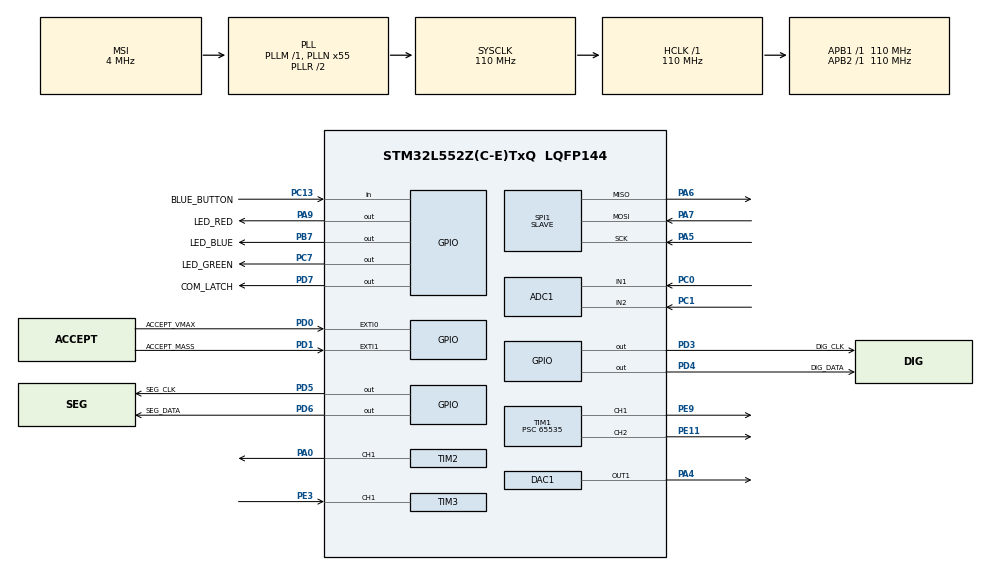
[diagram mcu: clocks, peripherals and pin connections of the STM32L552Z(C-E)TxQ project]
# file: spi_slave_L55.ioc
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ADC1.Channel-0\#ChannelRegularConversion=ADC_CHANNEL_1
ADC1.Channel-1\#ChannelRegularConversion=ADC_CHANNEL_2
ADC1.NbrOfConversion=2
ADC1.NbrOfConversionFlag=1
ADC1.OffsetNumber-0\#ChannelRegularConversion=ADC_OFFSET_NONE
ADC1.OffsetNumber-1\#ChannelRegularConversion=ADC_OFFSET_NONE
ADC1.Rank-0\#ChannelRegularConversion=1
ADC1.Rank-1\#ChannelRegularConversion=2
ADC1.SamplingTime-0\#ChannelRegularConversion=ADC_SAMPLETIME_2CYCLES_5
ADC1.SamplingTime-1\#ChannelRegularConversion=ADC_SAMPLETIME_2CYCLES_5
ADC1.master=1
DAC1.DAC_SampleAndHold-DAC_OUT1=DAC_SAMPLEANDHOLD_DISABLE
Dma.Request0=SPI1_RX
Dma.Request1=SPI1_TX
Dma.SPI1_RX.0.Channel_PRIV_NPRIV=DMA_CHANNEL_NPRIV_DISABLE
Dma.SPI1_RX.0.Direction=DMA_PERIPH_TO_MEMORY
Dma.SPI1_RX.0.EventEnable=DISABLE
Dma.SPI1_RX.0.Instance=DMA1_Channel1
Dma.SPI1_RX.0.MemDataAlignment=DMA_MDATAALIGN_BYTE
Dma.SPI1_RX.0.MemInc=DMA_MINC_ENABLE
Dma.SPI1_RX.0.Mode=DMA_NORMAL
Dma.SPI1_RX.0.PeriphDataAlignment=DMA_PDATAALIGN_BYTE
Dma.SPI1_RX.0.PeriphInc=DMA_PINC_DISABLE
Dma.SPI1_RX.0.Polarity=HAL_DMAMUX_REQ_GEN_RISING
Dma.SPI1_RX.0.Priority=DMA_PRIORITY_LOW
Dma.SPI1_RX.0.RequestNumber=1
Dma.SPI1_RX.0.SignalID=NONE
Dma.SPI1_RX.0.SyncEnable=DISABLE
Dma.SPI1_RX.0.SyncPolarity=HAL_DMAMUX_SYNC_NO_EVENT
Dma.SPI1_RX.0.SyncRequestNumber=1
Dma.SPI1_RX.0.SyncSignalID=NONE
Dma.SPI1_TX.1.Channel_PRIV_NPRIV=DMA_CHANNEL_NPRIV_DISABLE
Dma.SPI1_TX.1.Direction=DMA_MEMORY_TO_PERIPH
Dma.SPI1_TX.1.EventEnable=DISABLE
Dma.SPI1_TX.1.Instance=DMA1_Channel2
Dma.SPI1_TX.1.MemDataAlignment=DMA_MDATAALIGN_BYTE
Dma.SPI1_TX.1.MemInc=DMA_MINC_ENABLE
Dma.SPI1_TX.1.Mode=DMA_NORMAL
Dma.SPI1_TX.1.PeriphDataAlignment=DMA_PDATAALIGN_BYTE
Dma.SPI1_TX.1.PeriphInc=DMA_PINC_DISABLE
Dma.SPI1_TX.1.Polarity=HAL_DMAMUX_REQ_GEN_RISING
Dma.SPI1_TX.1.Priority=DMA_PRIORITY_LOW
Dma.SPI1_TX.1.RequestNumber=1
Dma.SPI1_TX.1.SignalID=NONE
Dma.SPI1_TX.1.SyncEnable=DISABLE
Dma.SPI1_TX.1.SyncPolarity=HAL_DMAMUX_SYNC_NO_EVENT
Dma.SPI1_TX.1.SyncRequestNumber=1
Dma.SPI1_TX.1.SyncSignalID=NONE
Mcu.Family=STM32L5
Mcu.Name=STM32L552Z(C-E)TxQ
Mcu.Package=LQFP144
Mcu.TrustZone=disable
NVIC.ADC1_2_IRQn=true\:0\:0\:false\:false\:true\:true\:true\:true
NVIC.DMA1_Channel1_IRQn=true\:0\:0\:false\:false\:true\:false\:true\:true
NVIC.DMA1_Channel2_IRQn=true\:0\:0\:false\:false\:true\:false\:true\:true
NVIC.EXTI0_IRQn=true\:0\:0\:false\:false\:true\:true\:true\:true
NVIC.EXTI1_IRQn=true\:0\:0\:false\:false\:true\:true\:true\:true
NVIC.PriorityGroup=NVIC_PRIORITYGROUP_3
NVIC.SPI1_IRQn=true\:0\:0\:false\:false\:true\:true\:true\:true
NVIC.TIM3_IRQn=true\:0\:0\:false\:false\:true\:true\:true\:true
PA0.Signal=S_TIM2_CH1
PA4.Signal=COMP_DAC11_group
PA5.Mode=Full_Duplex_Slave
PA5.Signal=SPI1_SCK
PA6.Mode=Full_Duplex_Slave
PA6.Signal=SPI1_MISO
PA7.Mode=Full_Duplex_Slave
PA7.Signal=SPI1_MOSI
PA9.GPIO_Label=LED_RED
PA9.Signal=GPIO_Output
PB7.GPIO_Label=LED_BLUE
PB7.Signal=GPIO_Output
PC0.Signal=ADCx_IN1
PC1.Signal=ADCx_IN2
PC13.GPIO_Label=BLUE_BUTTON
PC13.Signal=GPIO_Input
PC7.GPIO_Label=LED_GREEN
PC7.Signal=GPIO_Output
PD0.GPIO_Label=ACCEPT_VMAX
PD0.GPIO_ModeDefaultEXTI=GPIO_MODE_IT_FALLING
PD0.GPIO_PuPd=GPIO_PULLDOWN
PD0.Signal=GPXTI0
PD1.GPIO_Label=ACCEPT_MASS
PD1.GPIO_ModeDefaultEXTI=GPIO_MODE_IT_FALLING
PD1.GPIO_PuPd=GPIO_PULLDOWN
PD1.Signal=GPXTI1
PD3.GPIO_Label=DIG_CLK
PD3.Signal=GPIO_Output
PD4.GPIO_Label=DIG_DATA
PD4.Signal=GPIO_Output
PD5.GPIO_Label=SEG_CLK
PD5.Signal=GPIO_Output
PD6.GPIO_Label=SEG_DATA
PD6.Signal=GPIO_Output
PD7.GPIO_Label=COM_LATCH
PD7.Signal=GPIO_Output
PE11.Signal=S_TIM1_CH2
PE3.Signal=S_TIM3_CH1
PE9.Signal=S_TIM1_CH1
PH0-OSC_IN\ (PH0).Mode=HSE-External-Clock-Source
PH0-OSC_IN\ (PH0).Signal=RCC_OSC_IN
ProjectManager.HeapSize=0x200
ProjectManager.StackSize=0x400
ProjectManager.TargetToolchain=STM32CubeIDE
RCC.ADCCLockSelection=RCC_ADCCLKSOURCE_SYSCLK
RCC.ADCFreq_Value=110000000
RCC.AHBFreq_Value=110000000
RCC.APB1Freq_Value=110000000
RCC.APB1TimFreq_Value=110000000
RCC.APB2Freq_Value=110000000
RCC.APB2TimFreq_Value=110000000
RCC.CK48CLockSelection=RCC_USBCLKSOURCE_HSI48
RCC.CortexFreq_Value=110000000
RCC.HCLKFreq_Value=110000000
RCC.HSE_VALUE=8000000
RCC.HSI48_VALUE=48000000
RCC.HSI_VALUE=16000000
RCC.LSE_VALUE=32768
RCC.MSI_VALUE=4000000
RCC.PLLN=55
RCC.PLLSAI1N=24
RCC.RTCClockSelection=RCC_RTCCLKSOURCE_LSE
RCC.SYSCLKFreq_VALUE=110000000
RCC.SYSCLKSource=RCC_SYSCLKSOURCE_PLLCLK
RCC.USBFreq_Value=48000000
RCC.VCOOutputFreq_Value=220000000
SH.ADCx_IN1.0=ADC1_IN1,IN1-Single-Ended
SH.ADCx_IN2.0=ADC1_IN2,IN2-Single-Ended
SH.COMP_DAC11_group.0=DAC1_OUT1,DAC_OUT1
SH.S_TIM1_CH1.0=TIM1_CH1,Output Compare1 CH1
SH.S_TIM1_CH2.0=TIM1_CH2,Output Compare2 CH2
SH.S_TIM2_CH1.0=TIM2_CH1,PWM Generation1 CH1
SH.S_TIM3_CH1.0=TIM3_CH1,PWM_Input_1
SPI1.DataSize=SPI_DATASIZE_8BIT
SPI1.Direction=SPI_DIRECTION_2LINES
SPI1.Mode=SPI_MODE_SLAVE
SPI1.VirtualType=VM_SLAVE
TIM1.AutoReloadPreload=TIM_AUTORELOAD_PRELOAD_ENABLE
TIM1.Channel-Output\ Compare1\ CH1=TIM_CHANNEL_1
TIM1.Channel-Output\ Compare2\ CH2=TIM_CHANNEL_2
TIM1.CounterMode=TIM_COUNTERMODE_UP
TIM1.OCMode_1=TIM_OCMODE_TOGGLE
TIM1.OCMode_2=TIM_OCMODE_TOGGLE
TIM1.Period=109
TIM1.Prescaler=65535
TIM1.Pulse-Output\ Compare1\ CH1=2750
TIM1.Pulse-Output\ Compare2\ CH2=8250
TIM2.AutoReloadPreload=TIM_AUTORELOAD_PRELOAD_ENABLE
TIM2.Channel-PWM\ Generation1\ CH1=TIM_CHANNEL_1
TIM2.Period=10000
TIM2.Prescaler=10
TIM3.AutoReloadPreload=TIM_AUTORELOAD_PRELOAD_ENABLE
TIM3.Prescaler=10
VP_TIM1_VS_ClockSourceINT.Mode=Internal
VP_TIM2_VS_ClockSourceINT.Mode=Internal
VP_TIM3_VS_ClockSourceINT.Mode=Internal
board=NUCLEO-L552ZE-Q

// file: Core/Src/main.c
/* USER CODE BEGIN Header */
/**
  ******************************************************************************
  * @file           : main.c
  * @brief          : Main program body
  ******************************************************************************
  * @attention
  *
  * Copyright (c) 2024 STMicroelectronics.
  * All rights reserved.
  *
  * This software is licensed under terms that can be found in the LICENSE file
  * in the root directory of this software component.
  * If no LICENSE file comes with this software, it is provided AS-IS.
  *
  ******************************************************************************
  */
/* USER CODE END Header */
#include "main.h"

/* USER CODE BEGIN Includes */
#include "shiftregdrv.h"
/* USER CODE END Includes */

/* USER CODE BEGIN PD */
#define FLOAT_ARRAY_SIZE 8
/* USER CODE END PD */

ADC_HandleTypeDef hadc1;

DAC_HandleTypeDef hdac1;

SPI_HandleTypeDef hspi1;
DMA_HandleTypeDef hdma_spi1_rx;
DMA_HandleTypeDef hdma_spi1_tx;

TIM_HandleTypeDef htim1;
TIM_HandleTypeDef htim2;
TIM_HandleTypeDef htim3;

/* USER CODE BEGIN PV */
uint16_t AD_RES_1_IN0 = 0;
uint16_t AD_RES_1_IN1 = 0;
uint32_t clock_freq = 110*10^6;
uint16_t enc_phys_res = 5000;
uint16_t enc_eval_res = 20000;
uint16_t enc_timer_res = 10000;
uint8_t rotation_enable = 1;

float enc_multiplier = 0.0;
uint32_t ICValue = 0;
float pwm_input_duty = 0.0;

float voltage_max = 24.0;
float voltage_min = -24.0;
float current_max = 50.0;
float current_min = -50.0;
float pos_max = 5.0;
float pos_min = 0.0;

float v_in_slope = 0.0;
float v_in_offset = 0.0;
float h_out_slope = 0.0;
float h_out_offset = 0.0;
float i_out_slope = 0.0;
float i_out_offset = 0.0;

const float voltage_max_from_adc_max = 24.0;
const float voltage_max_from_adc_min = 10.0;
float voltage_max_from_adc = 24.0;
const float mass_from_adc_max = 10.0;
const float mass_from_adc_min = 0.5;
float mass_from_adc = 2.0;

float recv_data[FLOAT_ARRAY_SIZE];
float send_data[FLOAT_ARRAY_SIZE] = {1.0, 0.0, 24.0, 2.0, 1.0, 1.0, 1.0, 1.0};

extern uint8_t display1[4];
extern uint8_t display2[4];
uint8_t digit_counter = 0;
/* USER CODE END PV */

void SystemClock_Config(void);
static void MX_GPIO_Init(void);
static void MX_DMA_Init(void);
static void MX_SPI1_Init(void);
static void MX_ADC1_Init(void);
static void MX_TIM1_Init(void);
static void MX_DAC1_Init(void);
static void MX_TIM2_Init(void);
static void MX_TIM3_Init(void);

int main(void)
{

  /* MCU Configuration--------------------------------------------------------*/

  /* Reset of all peripherals, Initializes the Flash interface and the Systick. */
  HAL_Init();

  /* Configure the system clock */
  SystemClock_Config();

  /* Initialize all configured peripherals */
  MX_GPIO_Init();
  MX_DMA_Init();
  MX_SPI1_Init();
  MX_ADC1_Init();
  MX_TIM1_Init();
  MX_DAC1_Init();
  MX_TIM2_Init();
  MX_TIM3_Init();
  /* USER CODE BEGIN 2 */

  v_in_slope = voltage_max/0.4;
  v_in_offset = -voltage_max-v_in_slope*0.1;

  h_out_slope = (float)(TIM2->ARR)*0.8/pos_max;
  h_out_offset = (float)(TIM2->ARR)*0.1;

  i_out_slope = 4095.0/(2.0*current_max);
  i_out_offset = 4095/2.0;

  //enc_multiplier = (float)(((float)clock_freq/((float)(TIM1->ARR)+1.0))/((float)enc_timer_res/(2.0*M_PI)));
  enc_multiplier = 628.3185307;

  HAL_ADCEx_Calibration_Start(&hadc1, ADC_SINGLE_ENDED); //ADC start
  HAL_SPI_TransmitReceive_DMA(&hspi1, send_data, recv_data,  sizeof(recv_data));

  HAL_TIM_OC_Start(&htim1, TIM_CHANNEL_1);
  HAL_TIM_OC_Start(&htim1, TIM_CHANNEL_2);

  HAL_TIM_PWM_Start(&htim2, TIM_CHANNEL_1);

  HAL_TIM_IC_Start_IT(&htim3, TIM_CHANNEL_1);   // Duty measurement - main channel
  HAL_TIM_IC_Start(&htim3, TIM_CHANNEL_2); // Duty measurement - indirect channel

  HAL_DAC_Start(&hdac1, DAC_CHANNEL_1);
  /* USER CODE END 2 */

  /* Infinite loop */
  while (1)
  {

    /* USER CODE BEGIN 3 */

	if(HAL_GPIO_ReadPin(BLUE_BUTTON_GPIO_Port, BLUE_BUTTON_Pin) == GPIO_PIN_SET)
	{
		HAL_GPIO_WritePin(LED_BLUE_GPIO_Port, LED_BLUE_Pin, GPIO_PIN_SET);
	}
	else
	{
		HAL_GPIO_WritePin(LED_BLUE_GPIO_Port, LED_BLUE_Pin, GPIO_PIN_RESET);
	}

	HAL_GPIO_TogglePin(LED_RED_GPIO_Port, LED_RED_Pin);

	latch_out();

	update_display1(voltage_max_from_adc);
	update_display2(mass_from_adc);
	switch_digit(digit_counter);
	switch(digit_counter){
		case 0:{
			print_digit(display1[0], 0);
			break;
		}
		case 1:{
			print_digit(display1[1], 1);
			break;
		}
		case 2:{
			print_digit(display1[2], 0);
			break;
		}
		case 3:{
			print_digit(display1[3], 0);
			break;
		}
		case 4:{
			print_digit(display2[0], 0);
			break;
		}
		case 5:{
			print_digit(display2[1], 1);
			break;
		}
		case 6:{
			print_digit(display2[2], 0);
			break;
		}
		case 7:{
			print_digit(display2[3], 0);
			break;
		}
	}
	if(digit_counter < 7){digit_counter++;}
	else{digit_counter = 0;}
	HAL_Delay(2);
  }
  /* USER CODE END 3 */
}

void SystemClock_Config(void)
{
  RCC_OscInitTypeDef RCC_OscInitStruct = {0};
  RCC_ClkInitTypeDef RCC_ClkInitStruct = {0};

  /** Configure the main internal regulator output voltage
  */
  if (HAL_PWREx_ControlVoltageScaling(PWR_REGULATOR_VOLTAGE_SCALE0) != HAL_OK)
  {
    Error_Handler();
  }

  /** Initializes the RCC Oscillators according to the specified parameters
  * in the RCC_OscInitTypeDef structure.
  */
  RCC_OscInitStruct.OscillatorType = RCC_OSCILLATORTYPE_MSI;
  RCC_OscInitStruct.MSIState = RCC_MSI_ON;
  RCC_OscInitStruct.MSICalibrationValue = RCC_MSICALIBRATION_DEFAULT;
  RCC_OscInitStruct.MSIClockRange = RCC_MSIRANGE_6;
  RCC_OscInitStruct.PLL.PLLState = RCC_PLL_ON;
  RCC_OscInitStruct.PLL.PLLSource = RCC_PLLSOURCE_MSI;
  RCC_OscInitStruct.PLL.PLLM = 1;
  RCC_OscInitStruct.PLL.PLLN = 55;
  RCC_OscInitStruct.PLL.PLLP = RCC_PLLP_DIV7;
  RCC_OscInitStruct.PLL.PLLQ = RCC_PLLQ_DIV2;
  RCC_OscInitStruct.PLL.PLLR = RCC_PLLR_DIV2;
  if (HAL_RCC_OscConfig(&RCC_OscInitStruct) != HAL_OK)
  {
    Error_Handler();
  }

  /** Initializes the CPU, AHB and APB buses clocks
  */
  RCC_ClkInitStruct.ClockType = RCC_CLOCKTYPE_HCLK|RCC_CLOCKTYPE_SYSCLK
                              |RCC_CLOCKTYPE_PCLK1|RCC_CLOCKTYPE_PCLK2;
  RCC_ClkInitStruct.SYSCLKSource = RCC_SYSCLKSOURCE_PLLCLK;
  RCC_ClkInitStruct.AHBCLKDivider = RCC_SYSCLK_DIV1;
  RCC_ClkInitStruct.APB1CLKDivider = RCC_HCLK_DIV1;
  RCC_ClkInitStruct.APB2CLKDivider = RCC_HCLK_DIV1;

  if (HAL_RCC_ClockConfig(&RCC_ClkInitStruct, FLASH_LATENCY_5) != HAL_OK)
  {
    Error_Handler();
  }
}

static void MX_ADC1_Init(void)
{

  ADC_MultiModeTypeDef multimode = {0};
  ADC_ChannelConfTypeDef sConfig = {0};

  /** Common config
  */
  hadc1.Instance = ADC1;
  hadc1.Init.ClockPrescaler = ADC_CLOCK_ASYNC_DIV1;
  hadc1.Init.Resolution = ADC_RESOLUTION_12B;
  hadc1.Init.DataAlign = ADC_DATAALIGN_RIGHT;
  hadc1.Init.ScanConvMode = ADC_SCAN_ENABLE;
  hadc1.Init.EOCSelection = ADC_EOC_SINGLE_CONV;
  hadc1.Init.LowPowerAutoWait = DISABLE;
  hadc1.Init.ContinuousConvMode = DISABLE;
  hadc1.Init.NbrOfConversion = 2;
  hadc1.Init.DiscontinuousConvMode = DISABLE;
  hadc1.Init.ExternalTrigConv = ADC_SOFTWARE_START;
  hadc1.Init.ExternalTrigConvEdge = ADC_EXTERNALTRIGCONVEDGE_NONE;
  hadc1.Init.DMAContinuousRequests = DISABLE;
  hadc1.Init.Overrun = ADC_OVR_DATA_PRESERVED;
  hadc1.Init.OversamplingMode = DISABLE;
  if (HAL_ADC_Init(&hadc1) != HAL_OK)
  {
    Error_Handler();
  }

  /** Configure the ADC multi-mode
  */
  multimode.Mode = ADC_MODE_INDEPENDENT;
  if (HAL_ADCEx_MultiModeConfigChannel(&hadc1, &multimode) != HAL_OK)
  {
    Error_Handler();
  }

  /** Configure Regular Channel
  */
  sConfig.Channel = ADC_CHANNEL_1;
  sConfig.Rank = ADC_REGULAR_RANK_1;
  sConfig.SamplingTime = ADC_SAMPLETIME_2CYCLES_5;
  sConfig.SingleDiff = ADC_SINGLE_ENDED;
  sConfig.OffsetNumber = ADC_OFFSET_NONE;
  sConfig.Offset = 0;
  if (HAL_ADC_ConfigChannel(&hadc1, &sConfig) != HAL_OK)
  {
    Error_Handler();
  }

  /** Configure Regular Channel
  */
  sConfig.Channel = ADC_CHANNEL_2;
  sConfig.Rank = ADC_REGULAR_RANK_2;
  if (HAL_ADC_ConfigChannel(&hadc1, &sConfig) != HAL_OK)
  {
    Error_Handler();
  }

}

static void MX_DAC1_Init(void)
{

  DAC_ChannelConfTypeDef sConfig = {0};

  /** DAC Initialization
  */
  hdac1.Instance = DAC1;
  if (HAL_DAC_Init(&hdac1) != HAL_OK)
  {
    Error_Handler();
  }

  /** DAC channel OUT1 config
  */
  sConfig.DAC_SampleAndHold = DAC_SAMPLEANDHOLD_DISABLE;
  sConfig.DAC_Trigger = DAC_TRIGGER_NONE;
  sConfig.DAC_HighFrequency = DAC_HIGH_FREQUENCY_INTERFACE_MODE_ABOVE_80MHZ;
  sConfig.DAC_OutputBuffer = DAC_OUTPUTBUFFER_ENABLE;
  sConfig.DAC_ConnectOnChipPeripheral = DAC_CHIPCONNECT_DISABLE;
  sConfig.DAC_UserTrimming = DAC_TRIMMING_FACTORY;
  if (HAL_DAC_ConfigChannel(&hdac1, &sConfig, DAC_CHANNEL_1) != HAL_OK)
  {
    Error_Handler();
  }

}

static void MX_SPI1_Init(void)
{

  /* SPI1 parameter configuration*/
  hspi1.Instance = SPI1;
  hspi1.Init.Mode = SPI_MODE_SLAVE;
  hspi1.Init.Direction = SPI_DIRECTION_2LINES;
  hspi1.Init.DataSize = SPI_DATASIZE_8BIT;
  hspi1.Init.CLKPolarity = SPI_POLARITY_LOW;
  hspi1.Init.CLKPhase = SPI_PHASE_1EDGE;
  hspi1.Init.NSS = SPI_NSS_SOFT;
  hspi1.Init.FirstBit = SPI_FIRSTBIT_MSB;
  hspi1.Init.TIMode = SPI_TIMODE_DISABLE;
  hspi1.Init.CRCCalculation = SPI_CRCCALCULATION_DISABLE;
  hspi1.Init.CRCPolynomial = 7;
  hspi1.Init.CRCLength = SPI_CRC_LENGTH_DATASIZE;
  hspi1.Init.NSSPMode = SPI_NSS_PULSE_DISABLE;
  if (HAL_SPI_Init(&hspi1) != HAL_OK)
  {
    Error_Handler();
  }

}

static void MX_TIM1_Init(void)
{

  TIM_ClockConfigTypeDef sClockSourceConfig = {0};
  TIM_MasterConfigTypeDef sMasterConfig = {0};
  TIM_OC_InitTypeDef sConfigOC = {0};
  TIM_BreakDeadTimeConfigTypeDef sBreakDeadTimeConfig = {0};

  htim1.Instance = TIM1;
  htim1.Init.Prescaler = 65535;
  htim1.Init.CounterMode = TIM_COUNTERMODE_UP;
  htim1.Init.Period = 109;
  htim1.Init.ClockDivision = TIM_CLOCKDIVISION_DIV1;
  htim1.Init.RepetitionCounter = 0;
  htim1.Init.AutoReloadPreload = TIM_AUTORELOAD_PRELOAD_ENABLE;
  if (HAL_TIM_Base_Init(&htim1) != HAL_OK)
  {
    Error_Handler();
  }
  sClockSourceConfig.ClockSource = TIM_CLOCKSOURCE_INTERNAL;
  if (HAL_TIM_ConfigClockSource(&htim1, &sClockSourceConfig) != HAL_OK)
  {
    Error_Handler();
  }
  if (HAL_TIM_OC_Init(&htim1) != HAL_OK)
  {
    Error_Handler();
  }
  sMasterConfig.MasterOutputTrigger = TIM_TRGO_RESET;
  sMasterConfig.MasterOutputTrigger2 = TIM_TRGO2_RESET;
  sMasterConfig.MasterSlaveMode = TIM_MASTERSLAVEMODE_DISABLE;
  if (HAL_TIMEx_MasterConfigSynchronization(&htim1, &sMasterConfig) != HAL_OK)
  {
    Error_Handler();
  }
  sConfigOC.OCMode = TIM_OCMODE_TOGGLE;
  sConfigOC.Pulse = 2750;
  sConfigOC.OCPolarity = TIM_OCPOLARITY_HIGH;
  sConfigOC.OCNPolarity = TIM_OCNPOLARITY_HIGH;
  sConfigOC.OCFastMode = TIM_OCFAST_DISABLE;
  sConfigOC.OCIdleState = TIM_OCIDLESTATE_RESET;
  sConfigOC.OCNIdleState = TIM_OCNIDLESTATE_RESET;
  if (HAL_TIM_OC_ConfigChannel(&htim1, &sConfigOC, TIM_CHANNEL_1) != HAL_OK)
  {
    Error_Handler();
  }
  sConfigOC.Pulse = 8250;
  if (HAL_TIM_OC_ConfigChannel(&htim1, &sConfigOC, TIM_CHANNEL_2) != HAL_OK)
  {
    Error_Handler();
  }
  sBreakDeadTimeConfig.OffStateRunMode = TIM_OSSR_DISABLE;
  sBreakDeadTimeConfig.OffStateIDLEMode = TIM_OSSI_DISABLE;
  sBreakDeadTimeConfig.LockLevel = TIM_LOCKLEVEL_OFF;
  sBreakDeadTimeConfig.DeadTime = 0;
  sBreakDeadTimeConfig.BreakState = TIM_BREAK_DISABLE;
  sBreakDeadTimeConfig.BreakPolarity = TIM_BREAKPOLARITY_HIGH;
  sBreakDeadTimeConfig.BreakFilter = 0;
  sBreakDeadTimeConfig.BreakAFMode = TIM_BREAK_AFMODE_INPUT;
  sBreakDeadTimeConfig.Break2State = TIM_BREAK2_DISABLE;
  sBreakDeadTimeConfig.Break2Polarity = TIM_BREAK2POLARITY_HIGH;
  sBreakDeadTimeConfig.Break2Filter = 0;
  sBreakDeadTimeConfig.Break2AFMode = TIM_BREAK_AFMODE_INPUT;
  sBreakDeadTimeConfig.AutomaticOutput = TIM_AUTOMATICOUTPUT_DISABLE;
  if (HAL_TIMEx_ConfigBreakDeadTime(&htim1, &sBreakDeadTimeConfig) != HAL_OK)
  {
    Error_Handler();
  }
  HAL_TIM_MspPostInit(&htim1);

}

static void MX_TIM2_Init(void)
{

  TIM_ClockConfigTypeDef sClockSourceConfig = {0};
  TIM_MasterConfigTypeDef sMasterConfig = {0};
  TIM_OC_InitTypeDef sConfigOC = {0};

  htim2.Instance = TIM2;
  htim2.Init.Prescaler = 10;
  htim2.Init.CounterMode = TIM_COUNTERMODE_UP;
  htim2.Init.Period = 10000;
  htim2.Init.ClockDivision = TIM_CLOCKDIVISION_DIV1;
  htim2.Init.AutoReloadPreload = TIM_AUTORELOAD_PRELOAD_ENABLE;
  if (HAL_TIM_Base_Init(&htim2) != HAL_OK)
  {
    Error_Handler();
  }
  sClockSourceConfig.ClockSource = TIM_CLOCKSOURCE_INTERNAL;
  if (HAL_TIM_ConfigClockSource(&htim2, &sClockSourceConfig) != HAL_OK)
  {
    Error_Handler();
  }
  if (HAL_TIM_PWM_Init(&htim2) != HAL_OK)
  {
    Error_Handler();
  }
  sMasterConfig.MasterOutputTrigger = TIM_TRGO_RESET;
  sMasterConfig.MasterSlaveMode = TIM_MASTERSLAVEMODE_DISABLE;
  if (HAL_TIMEx_MasterConfigSynchronization(&htim2, &sMasterConfig) != HAL_OK)
  {
    Error_Handler();
  }
  sConfigOC.OCMode = TIM_OCMODE_PWM1;
  sConfigOC.Pulse = 0;
  sConfigOC.OCPolarity = TIM_OCPOLARITY_HIGH;
  sConfigOC.OCFastMode = TIM_OCFAST_DISABLE;
  if (HAL_TIM_PWM_ConfigChannel(&htim2, &sConfigOC, TIM_CHANNEL_1) != HAL_OK)
  {
    Error_Handler();
  }
  HAL_TIM_MspPostInit(&htim2);

}

static void MX_TIM3_Init(void)
{

  TIM_ClockConfigTypeDef sClockSourceConfig = {0};
  TIM_SlaveConfigTypeDef sSlaveConfig = {0};
  TIM_IC_InitTypeDef sConfigIC = {0};
  TIM_MasterConfigTypeDef sMasterConfig = {0};

  htim3.Instance = TIM3;
  htim3.Init.Prescaler = 10;
  htim3.Init.CounterMode = TIM_COUNTERMODE_UP;
  htim3.Init.Period = 65535;
  htim3.Init.ClockDivision = TIM_CLOCKDIVISION_DIV1;
  htim3.Init.AutoReloadPreload = TIM_AUTORELOAD_PRELOAD_ENABLE;
  if (HAL_TIM_Base_Init(&htim3) != HAL_OK)
  {
    Error_Handler();
  }
  sClockSourceConfig.ClockSource = TIM_CLOCKSOURCE_INTERNAL;
  if (HAL_TIM_ConfigClockSource(&htim3, &sClockSourceConfig) != HAL_OK)
  {
    Error_Handler();
  }
  if (HAL_TIM_IC_Init(&htim3) != HAL_OK)
  {
    Error_Handler();
  }
  sSlaveConfig.SlaveMode = TIM_SLAVEMODE_RESET;
  sSlaveConfig.InputTrigger = TIM_TS_TI1FP1;
  sSlaveConfig.TriggerPolarity = TIM_INPUTCHANNELPOLARITY_RISING;
  sSlaveConfig.TriggerPrescaler = TIM_ICPSC_DIV1;
  sSlaveConfig.TriggerFilter = 0;
  if (HAL_TIM_SlaveConfigSynchro(&htim3, &sSlaveConfig) != HAL_OK)
  {
    Error_Handler();
  }
  sConfigIC.ICPolarity = TIM_INPUTCHANNELPOLARITY_RISING;
  sConfigIC.ICSelection = TIM_ICSELECTION_DIRECTTI;
  sConfigIC.ICPrescaler = TIM_ICPSC_DIV1;
  sConfigIC.ICFilter = 0;
  if (HAL_TIM_IC_ConfigChannel(&htim3, &sConfigIC, TIM_CHANNEL_1) != HAL_OK)
  {
    Error_Handler();
  }
  sConfigIC.ICPolarity = TIM_INPUTCHANNELPOLARITY_FALLING;
  sConfigIC.ICSelection = TIM_ICSELECTION_INDIRECTTI;
  if (HAL_TIM_IC_ConfigChannel(&htim3, &sConfigIC, TIM_CHANNEL_2) != HAL_OK)
  {
    Error_Handler();
  }
  sMasterConfig.MasterOutputTrigger = TIM_TRGO_RESET;
  sMasterConfig.MasterSlaveMode = TIM_MASTERSLAVEMODE_DISABLE;
  if (HAL_TIMEx_MasterConfigSynchronization(&htim3, &sMasterConfig) != HAL_OK)
  {
    Error_Handler();
  }

}

static void MX_DMA_Init(void)
{

  /* DMA controller clock enable */
  __HAL_RCC_DMAMUX1_CLK_ENABLE();
  __HAL_RCC_DMA1_CLK_ENABLE();

  /* DMA interrupt init */
  /* DMA1_Channel1_IRQn interrupt configuration */
  HAL_NVIC_SetPriority(DMA1_Channel1_IRQn, 0, 0);
  HAL_NVIC_EnableIRQ(DMA1_Channel1_IRQn);
  /* DMA1_Channel2_IRQn interrupt configuration */
  HAL_NVIC_SetPriority(DMA1_Channel2_IRQn, 0, 0);
  HAL_NVIC_EnableIRQ(DMA1_Channel2_IRQn);

}

static void MX_GPIO_Init(void)
{
  GPIO_InitTypeDef GPIO_InitStruct = {0};

  /* GPIO Ports Clock Enable */
  __HAL_RCC_GPIOE_CLK_ENABLE();
  __HAL_RCC_GPIOC_CLK_ENABLE();
  __HAL_RCC_GPIOH_CLK_ENABLE();
  __HAL_RCC_GPIOA_CLK_ENABLE();
  __HAL_RCC_GPIOD_CLK_ENABLE();
  __HAL_RCC_GPIOB_CLK_ENABLE();

  /*Configure GPIO pin Output Level */
  HAL_GPIO_WritePin(LED_GREEN_GPIO_Port, LED_GREEN_Pin, GPIO_PIN_RESET);

  /*Configure GPIO pin Output Level */
  HAL_GPIO_WritePin(LED_RED_GPIO_Port, LED_RED_Pin, GPIO_PIN_RESET);

  /*Configure GPIO pin Output Level */
  HAL_GPIO_WritePin(GPIOD, DIG_CLK_Pin|DIG_DATA_Pin|SEG_CLK_Pin|SEG_DATA_Pin
                          |COM_LATCH_Pin, GPIO_PIN_RESET);

  /*Configure GPIO pin Output Level */
  HAL_GPIO_WritePin(LED_BLUE_GPIO_Port, LED_BLUE_Pin, GPIO_PIN_RESET);

  /*Configure GPIO pin : BLUE_BUTTON_Pin */
  GPIO_InitStruct.Pin = BLUE_BUTTON_Pin;
  GPIO_InitStruct.Mode = GPIO_MODE_INPUT;
  GPIO_InitStruct.Pull = GPIO_NOPULL;
  HAL_GPIO_Init(BLUE_BUTTON_GPIO_Port, &GPIO_InitStruct);

  /*Configure GPIO pin : LED_GREEN_Pin */
  GPIO_InitStruct.Pin = LED_GREEN_Pin;
  GPIO_InitStruct.Mode = GPIO_MODE_OUTPUT_PP;
  GPIO_InitStruct.Pull = GPIO_NOPULL;
  GPIO_InitStruct.Speed = GPIO_SPEED_FREQ_LOW;
  HAL_GPIO_Init(LED_GREEN_GPIO_Port, &GPIO_InitStruct);

  /*Configure GPIO pin : LED_RED_Pin */
  GPIO_InitStruct.Pin = LED_RED_Pin;
  GPIO_InitStruct.Mode = GPIO_MODE_OUTPUT_PP;
  GPIO_InitStruct.Pull = GPIO_NOPULL;
  GPIO_InitStruct.Speed = GPIO_SPEED_FREQ_LOW;
  HAL_GPIO_Init(LED_RED_GPIO_Port, &GPIO_InitStruct);

  /*Configure GPIO pins : ACCEPT_VMAX_Pin ACCEPT_MASS_Pin */
  GPIO_InitStruct.Pin = ACCEPT_VMAX_Pin|ACCEPT_MASS_Pin;
  GPIO_InitStruct.Mode = GPIO_MODE_IT_FALLING;
  GPIO_InitStruct.Pull = GPIO_PULLDOWN;
  HAL_GPIO_Init(GPIOD, &GPIO_InitStruct);

  /*Configure GPIO pins : DIG_CLK_Pin DIG_DATA_Pin SEG_CLK_Pin SEG_DATA_Pin
                           COM_LATCH_Pin */
  GPIO_InitStruct.Pin = DIG_CLK_Pin|DIG_DATA_Pin|SEG_CLK_Pin|SEG_DATA_Pin
                          |COM_LATCH_Pin;
  GPIO_InitStruct.Mode = GPIO_MODE_OUTPUT_PP;
  GPIO_InitStruct.Pull = GPIO_NOPULL;
  GPIO_InitStruct.Speed = GPIO_SPEED_FREQ_LOW;
  HAL_GPIO_Init(GPIOD, &GPIO_InitStruct);

  /*Configure GPIO pin : LED_BLUE_Pin */
  GPIO_InitStruct.Pin = LED_BLUE_Pin;
  GPIO_InitStruct.Mode = GPIO_MODE_OUTPUT_PP;
  GPIO_InitStruct.Pull = GPIO_NOPULL;
  GPIO_InitStruct.Speed = GPIO_SPEED_FREQ_LOW;
  HAL_GPIO_Init(LED_BLUE_GPIO_Port, &GPIO_InitStruct);

  /* EXTI interrupt init*/
  HAL_NVIC_SetPriority(EXTI0_IRQn, 0, 0);
  HAL_NVIC_EnableIRQ(EXTI0_IRQn);

  HAL_NVIC_SetPriority(EXTI1_IRQn, 0, 0);
  HAL_NVIC_EnableIRQ(EXTI1_IRQn);

}

/* USER CODE BEGIN 4 */

void HAL_ADC_ConvCpltCallback(ADC_HandleTypeDef* hadc)
{
	if(hadc == &hadc1){
		AD_RES_1_IN0 = HAL_ADC_GetValue(&hadc1);
		AD_RES_1_IN1 = HAL_ADC_GetValue(&hadc1);

		voltage_max_from_adc = ((voltage_max_from_adc_max - voltage_max_from_adc_min)/4095.0)*AD_RES_1_IN0 + voltage_max_from_adc_min;
		mass_from_adc = ((mass_from_adc_max - mass_from_adc_min)/4095.0)*AD_RES_1_IN1 + mass_from_adc_min;
	}
}

void HAL_SPI_TxRxCpltCallback(SPI_HandleTypeDef *hspi){
	if(hspi == &hspi1){
	    HAL_SPI_TransmitReceive_DMA(&hspi1, send_data, recv_data,  sizeof(recv_data));
	    HAL_GPIO_TogglePin(LED_BLUE_GPIO_Port, LED_BLUE_Pin);

		if(recv_data[3] > 0.01){
			if(rotation_enable == 0){
				HAL_TIM_OC_Start(&htim1, TIM_CHANNEL_1);
				HAL_TIM_OC_Start(&htim1, TIM_CHANNEL_2);
				rotation_enable = 1;
			}
			TIM1->PSC = (int)(enc_multiplier/fabs(recv_data[3]))-1;
			TIM1->CCR1 = 0.75*TIM1->ARR;
			TIM1->CCR2 = 0.25*TIM1->ARR;
		}
		else if(recv_data[3] < -0.01){
			if(rotation_enable == 0){
				HAL_TIM_OC_Start(&htim1, TIM_CHANNEL_1);
				HAL_TIM_OC_Start(&htim1, TIM_CHANNEL_2);
				rotation_enable = 1;
			}
			TIM1->PSC = (int)(enc_multiplier/fabs(recv_data[3]))-1;
			TIM1->CCR1 = 0.25*TIM1->ARR;
			TIM1->CCR2 = 0.75*TIM1->ARR;
		}
		else{
			HAL_TIM_OC_Stop(&htim1, TIM_CHANNEL_1);
			HAL_TIM_OC_Stop(&htim1, TIM_CHANNEL_2);
			rotation_enable = 0;
		}

		if(recv_data[5] > (pos_min-0.1) && recv_data[5] < (pos_max+0.1)){
			TIM2->CCR1 = (int)(h_out_offset + h_out_slope*recv_data[5]);
		}

		if(recv_data[1] >= current_min && recv_data[1] <= current_max){
			int dac_value = (int)(i_out_slope*recv_data[1]) + (int)(i_out_offset);
			HAL_DAC_SetValue(&hdac1, DAC_CHANNEL_1, DAC_ALIGN_12B_R, dac_value);
		}

		HAL_ADC_Start_IT(&hadc1);
	}

}

void HAL_TIM_IC_CaptureCallback(TIM_HandleTypeDef *htim)
{
	if(htim == &htim3){
		if (htim->Channel == HAL_TIM_ACTIVE_CHANNEL_1)  // If the interrupt is triggered by channel 1
		{
			ICValue = HAL_TIM_ReadCapturedValue(htim, TIM_CHANNEL_1);

			pwm_input_duty = (float)(((float)HAL_TIM_ReadCapturedValue(htim, TIM_CHANNEL_2))/(float)ICValue);

			send_data[1] = v_in_offset + v_in_slope*pwm_input_duty;

			if(send_data[1] > voltage_max){send_data[1] = voltage_max;}
			if(send_data[1] < voltage_min){send_data[1] = voltage_min;}

		}
	}
}

void HAL_GPIO_EXTI_Falling_Callback(uint16_t GPIO_Pin)
{
  if(GPIO_Pin == ACCEPT_VMAX_Pin){
	  send_data[2] = voltage_max_from_adc;
  }
  if(GPIO_Pin == ACCEPT_MASS_Pin){
	  send_data[3] = mass_from_adc;
  }
}

/* USER CODE END 4 */

void Error_Handler(void)
{
  __disable_irq();
  while (1)
  {
  }
}
